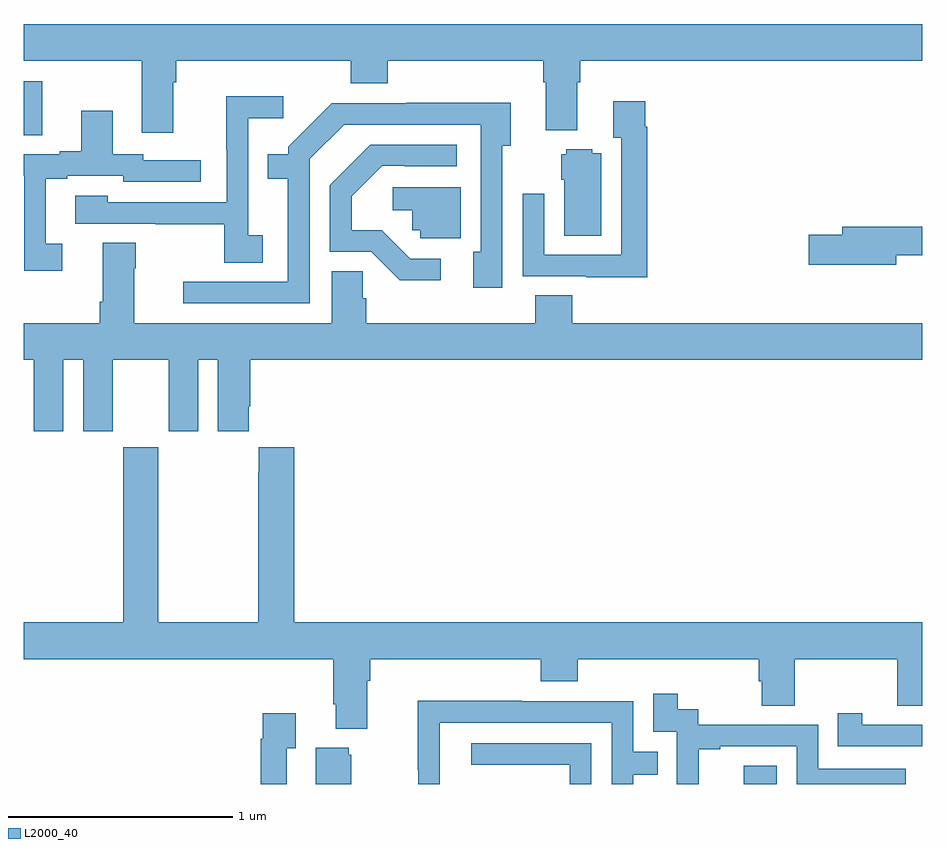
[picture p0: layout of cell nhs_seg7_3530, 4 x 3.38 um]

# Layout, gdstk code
import gdstk
lib = gdstk.Library(unit=1e-6, precision=1e-09)
def R(c, l, rs):  # rectangles x0, y0, x1, y1
    for r in rs: c.add(gdstk.rectangle(r[:2], r[2:], *l))
def P(c, l, *ps):  # polygons
    for p in ps: c.add(gdstk.Polygon(p, *l))
L2000_40 = (2000, 40)

nhs_seg7_3530 = lib.new_cell('nhs_seg7_3530')
R(nhs_seg7_3530, L2000_40, [(338.205,1060,338.352,1060.081), (335,1062.889,335.083,1063.128)])
P(nhs_seg7_3530, L2000_40, [(335.665,1063.124),(335.678,1063.124),(335.678,1063.22),(336.455,1063.22),(336.455,1063.121),(336.62,1063.121),(336.62,1063.22),(337.313,1063.22),(337.313,1063.124),(337.325,1063.124),(337.325,1062.911),(337.465,1062.911),(337.465,1063.124),(337.478,1063.124),(337.478,1063.22),(339,1063.22),(339,1063.384),(335,1063.384),(335,1063.22),(335.525,1063.22),(335.525,1062.9),(335.665,1062.9)],
  [(336.064,1062.444),(336,1062.444),(336,1062.965),(336.154,1062.965),(336.154,1063.063),(335.902,1063.063),(335.902,1062.824),(335.904,1062.824),(335.904,1062.591),(335.373,1062.591),(335.373,1062.619),(335.229,1062.619),(335.229,1062.495),(335.587,1062.495),(335.587,1062.493),(335.892,1062.493),(335.892,1062.322),(336.064,1062.322)],
  [(337.775,1062.926),(337.768,1062.926),(337.768,1063.039),(337.625,1063.039),(337.625,1062.878),(337.659,1062.878),(337.659,1062.357),(337.317,1062.357),(337.317,1062.628),(337.221,1062.628),(337.221,1062.261),(337.505,1062.261),(337.505,1062.257),(337.775,1062.257)],
  [(336.273,1062.783),(336.426,1062.936),(337.035,1062.936),(337.035,1062.37),(337.001,1062.37),(337.001,1062.21),(337.131,1062.21),(337.131,1062.842),(337.168,1062.842),(337.168,1063.034),(336.703,1063.034),(336.703,1063.032),(336.372,1063.032),(336.177,1062.837),(336.177,1062.805),(336.085,1062.805),(336.085,1062.696),(336.176,1062.696),(336.176,1062.237),(335.709,1062.237),(335.709,1062.141),(336.273,1062.141)],
  [(335.17,1062.405),(335.098,1062.405),(335.098,1062.696),(335.194,1062.696),(335.194,1062.708),(335.442,1062.708),(335.442,1062.681),(335.788,1062.681),(335.788,1062.777),(335.532,1062.777),(335.532,1062.804),(335.395,1062.804),(335.395,1062.997),(335.255,1062.997),(335.255,1062.817),(335.159,1062.817),(335.159,1062.804),(335,1062.804),(335,1062.708),(335.001,1062.708),(335.001,1062.285),(335.17,1062.285)],
  [(336.856,1062.339),(336.72,1062.339),(336.593,1062.466),(336.46,1062.466),(336.46,1062.616),(336.597,1062.753),(336.697,1062.753),(336.697,1062.75),(336.928,1062.75),(336.928,1062.846),(336.542,1062.846),(336.363,1062.667),(336.363,1062.369),(336.546,1062.369),(336.674,1062.242),(336.856,1062.242)],
  [(337.57,1062.808),(337.53,1062.808),(337.53,1062.826),(337.416,1062.826),(337.416,1062.804),(337.394,1062.804),(337.394,1062.69),(337.406,1062.69),(337.406,1062.442),(337.57,1062.442)],
  [(336.946,1062.657),(336.642,1062.657),(336.642,1062.554),(336.729,1062.554),(336.729,1062.465),(336.765,1062.465),(336.765,1062.429),(336.946,1062.429)],
  [(338.884,1062.354),(339,1062.354),(339,1062.482),(338.645,1062.482),(338.645,1062.446),(338.496,1062.446),(338.496,1062.311),(338.884,1062.311)],
  [(335.176,1061.888),(335.264,1061.888),(335.264,1061.571),(335.395,1061.571),(335.395,1061.888),(335.645,1061.888),(335.645,1061.571),(335.776,1061.571),(335.776,1061.888),(335.864,1061.888),(335.864,1061.571),(336.001,1061.571),(336.001,1061.683),(336.008,1061.683),(336.008,1061.888),(339,1061.888),(339,1062.052),(337.442,1062.052),(337.442,1062.176),(337.277,1062.176),(337.277,1062.052),(336.524,1062.052),(336.524,1062.162),(336.509,1062.162),(336.509,1062.284),(336.371,1062.284),(336.371,1062.052),(335.491,1062.052),(335.491,1062.296),(335.499,1062.296),(335.499,1062.409),(335.351,1062.409),(335.351,1062.148),(335.339,1062.148),(335.339,1062.052),(335,1062.052),(335,1061.888),(335.045,1061.888),(335.045,1061.571),(335.176,1061.571)],
  [(336.203,1061.5),(336.047,1061.5),(336.047,1061.387),(336.043,1061.387),(336.043,1060.72),(335.598,1060.72),(335.598,1061.5),(335.443,1061.5),(335.443,1060.72),(335,1060.72),(335,1060.556),(336.377,1060.556),(336.377,1060.354),(336.389,1060.354),(336.389,1060.247),(336.529,1060.247),(336.529,1060.46),(336.542,1060.46),(336.542,1060.556),(337.301,1060.556),(337.301,1060.457),(337.466,1060.457),(337.466,1060.556),(338.273,1060.556),(338.273,1060.458),(338.285,1060.458),(338.285,1060.348),(338.433,1060.348),(338.433,1060.556),(338.89,1060.556),(338.89,1060.348),(339,1060.348),(339,1060.72),(336.203,1060.72)],
  [(338.006,1060.155),(338.101,1060.155),(338.101,1060.167),(338.442,1060.167),(338.442,1060),(338.927,1060),(338.927,1060.068),(338.538,1060.068),(338.538,1060.263),(338.004,1060.263),(338.004,1060.332),(337.912,1060.332),(337.912,1060.402),(337.803,1060.402),(337.803,1060.233),(337.908,1060.233),(337.908,1060.004),(337.907,1060.004),(337.907,1060),(338.006,1060)],
  [(336.852,1060.272),(337.617,1060.272),(337.617,1060),(337.713,1060),(337.713,1060.042),(337.823,1060.042),(337.823,1060.143),(337.713,1060.143),(337.713,1060.368),(337.217,1060.368),(337.217,1060.37),(336.754,1060.37),(336.754,1060.063),(336.756,1060.063),(336.756,1060),(336.852,1060)],
  [(339,1060.263),(338.734,1060.263),(338.734,1060.315),(338.623,1060.315),(338.623,1060.167),(339,1060.167)],
  [(336.171,1060.159),(336.211,1060.159),(336.211,1060.315),(336.063,1060.315),(336.063,1060.202),(336.055,1060.202),(336.055,1060),(336.171,1060)],
  [(337.527,1060.182),(336.993,1060.182),(336.993,1060.086),(337.431,1060.086),(337.431,1060),(337.527,1060)],
  [(336.457,1060.131),(336.446,1060.131),(336.446,1060.162),(336.299,1060.162),(336.299,1060),(336.457,1060)])

lib.write_gds('nhs_seg7_3530.gds')
